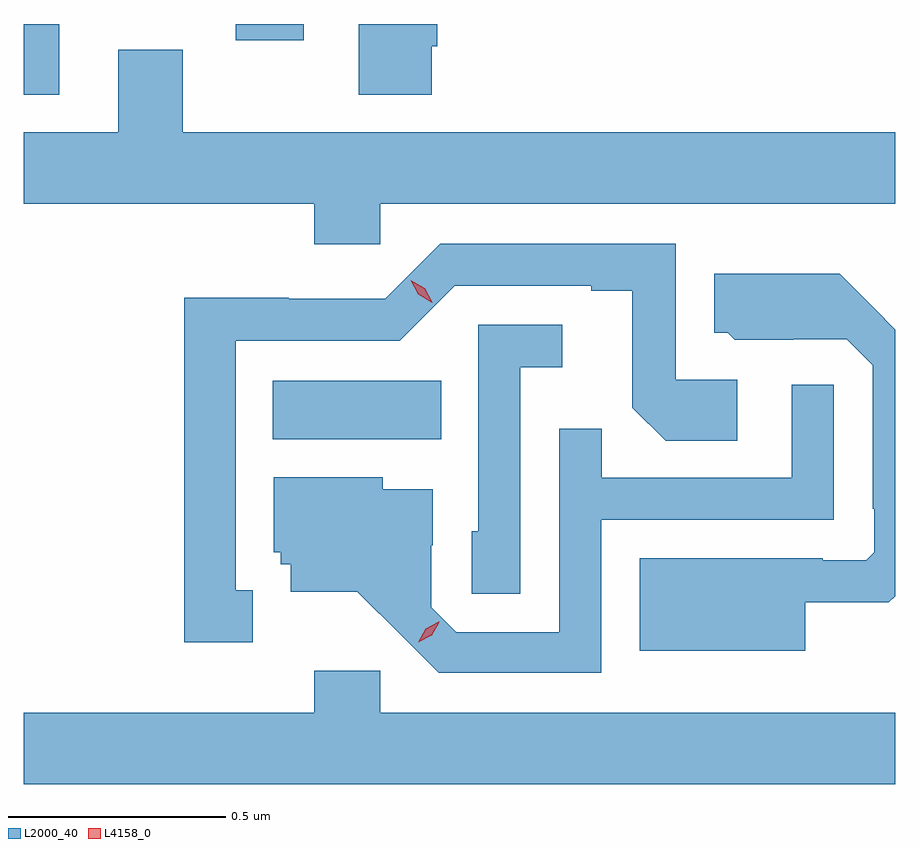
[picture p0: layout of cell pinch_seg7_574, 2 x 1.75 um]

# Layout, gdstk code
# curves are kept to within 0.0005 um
import gdstk
lib = gdstk.Library(unit=1e-6, precision=1e-09)
def R(c, l, rs):  # rectangles x0, y0, x1, y1
    for r in rs: c.add(gdstk.rectangle(r[:2], r[2:], *l))
def P(c, l, *ps):  # polygons
    for p in ps: c.add(gdstk.Polygon(p, *l))
L2000_40 = (2000, 40)
L4158_0 = (4158, 0)

pinch_seg7_574 = lib.new_cell('pinch_seg7_574')
R(pinch_seg7_574, L2000_40, [(135.593,1056.02,135.98,1056.154), (135.022,1056.81,135.103,1056.973), (135.508,1056.936,135.664,1056.973)])
P(pinch_seg7_574, L2000_40, [(135.958,1056.922),(135.971,1056.922),(135.971,1056.973),(135.791,1056.973),(135.791,1056.81),(135.958,1056.81)],
  [(135.84,1056.56),(137.022,1056.56),(137.022,1056.724),(135.387,1056.724),(135.387,1056.914),(135.239,1056.914),(135.239,1056.724),(135.022,1056.724),(135.022,1056.56),(135.689,1056.56),(135.689,1056.467),(135.84,1056.467)],
  [(135.547,1055.673),(135.508,1055.673),(135.508,1056.246),(135.885,1056.246),(136.011,1056.372),(136.325,1056.372),(136.325,1056.36),(136.419,1056.36),(136.419,1056.092),(136.495,1056.016),(136.66,1056.016),(136.66,1056.156),(136.518,1056.156),(136.518,1056.468),(135.978,1056.468),(135.852,1056.342),(135.63,1056.342),(135.63,1056.344),(135.39,1056.344),(135.39,1055.553),(135.547,1055.553)],
  [(136.816,1055.645),(137.008,1055.645),(137.022,1055.659),(137.022,1056.271),(136.895,1056.4),(136.607,1056.4),(136.607,1056.264),(136.638,1056.264),(136.654,1056.248),(136.788,1056.248),(136.788,1056.249),(136.911,1056.249),(136.971,1056.189),(136.971,1055.86),(136.974,1055.86),(136.974,1055.76),(136.956,1055.742),(136.856,1055.742),(136.856,1055.746),(136.436,1055.746),(136.436,1055.534),(136.816,1055.534)],
  [(136.161,1056.185),(136.258,1056.185),(136.258,1056.282),(136.065,1056.282),(136.065,1055.808),(136.05,1055.808),(136.05,1055.665),(136.161,1055.665)],
  [(136.347,1055.835),(136.881,1055.835),(136.881,1056.145),(136.785,1056.145),(136.785,1055.931),(136.349,1055.931),(136.349,1056.044),(136.251,1056.044),(136.251,1055.577),(136.014,1055.577),(135.957,1055.634),(135.957,1055.776),(135.961,1055.776),(135.961,1055.905),(135.846,1055.905),(135.846,1055.932),(135.596,1055.932),(135.596,1055.76),(135.612,1055.76),(135.612,1055.733),(135.635,1055.733),(135.635,1055.669),(135.787,1055.669),(135.974,1055.484),(136.347,1055.484)],
  [(137.022,1055.392),(135.84,1055.392),(135.84,1055.488),(135.689,1055.488),(135.689,1055.392),(135.022,1055.392),(135.022,1055.228),(137.022,1055.228)])
P(pinch_seg7_574, L4158_0, [(135.927,1055.554),(135.927,1055.554),(135.944,1055.584),(135.974,1055.6),(135.975,1055.6),(135.975,1055.599),(135.958,1055.57),(135.927,1055.554)],
  [(135.959,1056.333),(135.927,1056.352),(135.91,1056.385),(135.91,1056.385),(135.91,1056.385),(135.942,1056.366),(135.959,1056.334),(135.959,1056.333)])

lib.write_gds('pinch_seg7_574.gds')
